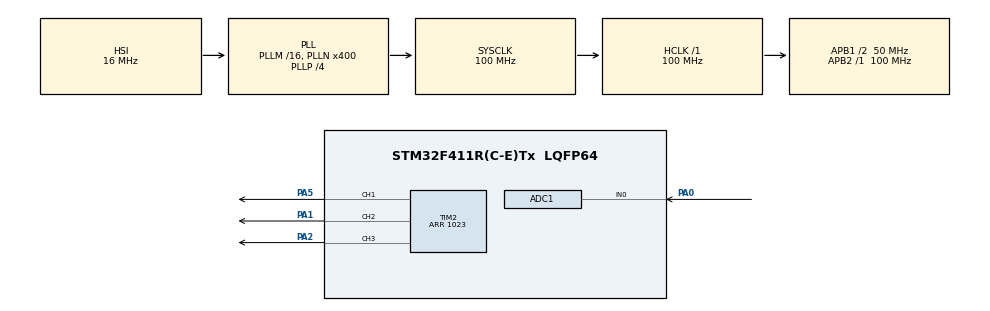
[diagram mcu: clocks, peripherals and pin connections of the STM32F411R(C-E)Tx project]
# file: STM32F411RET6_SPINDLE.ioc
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ADC1.Channel-0\#ChannelRegularConversion=ADC_CHANNEL_0
ADC1.ContinuousConvMode=ENABLE
ADC1.DMAContinuousRequests=ENABLE
ADC1.EOCSelection=ADC_EOC_SEQ_CONV
ADC1.NbrOfConversionFlag=1
ADC1.Rank-0\#ChannelRegularConversion=1
ADC1.SamplingTime-0\#ChannelRegularConversion=ADC_SAMPLETIME_84CYCLES
ADC1.ScanConvMode=ENABLE
ADC1.master=1
Dma.ADC1.0.Direction=DMA_PERIPH_TO_MEMORY
Dma.ADC1.0.FIFOMode=DMA_FIFOMODE_DISABLE
Dma.ADC1.0.Instance=DMA2_Stream0
Dma.ADC1.0.MemDataAlignment=DMA_MDATAALIGN_WORD
Dma.ADC1.0.MemInc=DMA_MINC_ENABLE
Dma.ADC1.0.Mode=DMA_CIRCULAR
Dma.ADC1.0.PeriphDataAlignment=DMA_PDATAALIGN_WORD
Dma.ADC1.0.PeriphInc=DMA_PINC_DISABLE
Dma.ADC1.0.Priority=DMA_PRIORITY_MEDIUM
Dma.Request0=ADC1
Mcu.Family=STM32F4
Mcu.Name=STM32F411R(C-E)Tx
Mcu.Package=LQFP64
NVIC.DMA2_Stream0_IRQn=true\:0\:0\:true\:false\:true\:false\:true\:true
NVIC.PriorityGroup=NVIC_PRIORITYGROUP_4
NVIC.TIM1_UP_TIM10_IRQn=true\:0\:0\:true\:false\:true\:true\:true\:true
NVIC.TIM3_IRQn=true\:0\:0\:false\:false\:true\:true\:true\:true
PA0-WKUP.Signal=ADCx_IN0
PA1.Signal=S_TIM2_CH2
PA13.Mode=Serial_Wire
PA13.Signal=SYS_JTMS-SWDIO
PA14.Mode=Serial_Wire
PA14.Signal=SYS_JTCK-SWCLK
PA2.Signal=S_TIM2_CH3
PA5.Signal=S_TIM2_CH1_ETR
ProjectManager.HeapSize=0x200
ProjectManager.StackSize=0x400
ProjectManager.TargetToolchain=STM32CubeIDE
RCC.48MHZClocksFreq_Value=100000000
RCC.AHBFreq_Value=100000000
RCC.APB1CLKDivider=RCC_HCLK_DIV2
RCC.APB1Freq_Value=50000000
RCC.APB1TimFreq_Value=100000000
RCC.APB2Freq_Value=100000000
RCC.APB2TimFreq_Value=100000000
RCC.CortexFreq_Value=100000000
RCC.HCLKFreq_Value=100000000
RCC.HSE_VALUE=8000000
RCC.HSI_VALUE=16000000
RCC.LSE_VALUE=32768
RCC.PLLN=400
RCC.PLLP=RCC_PLLP_DIV4
RCC.SYSCLKFreq_VALUE=100000000
RCC.SYSCLKSource=RCC_SYSCLKSOURCE_PLLCLK
RCC.VCOOutputFreq_Value=400000000
SH.ADCx_IN0.0=ADC1_IN0,IN0
SH.S_TIM2_CH1_ETR.0=TIM2_CH1,PWM Generation1 CH1
SH.S_TIM2_CH2.0=TIM2_CH2,PWM Generation2 CH2
SH.S_TIM2_CH3.0=TIM2_CH3,PWM Generation3 CH3
TIM1.AutoReloadPreload=TIM_AUTORELOAD_PRELOAD_DISABLE
TIM1.Period=2
TIM2.AutoReloadPreload=TIM_AUTORELOAD_PRELOAD_ENABLE
TIM2.Channel-PWM\ Generation1\ CH1=TIM_CHANNEL_1
TIM2.Channel-PWM\ Generation2\ CH2=TIM_CHANNEL_2
TIM2.Channel-PWM\ Generation3\ CH3=TIM_CHANNEL_3
TIM2.Period=1023
TIM3.Period=60000
TIM3.Prescaler=1000
VP_TIM1_VS_ClockSourceINT.Mode=Internal
VP_TIM2_VS_ClockSourceINT.Mode=Internal
VP_TIM3_VS_ClockSourceINT.Mode=Internal
board=custom

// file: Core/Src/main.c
/* USER CODE BEGIN Header */
/**
  ******************************************************************************
  * @file           : main.c
  * @brief          : Main program body
  ******************************************************************************
  * @attention
  *
  * Copyright (c) 2022 STMicroelectronics.
  * All rights reserved.
  *
  * This software is licensed under terms that can be found in the LICENSE file
  * in the root directory of this software component.
  * If no LICENSE file comes with this software, it is provided AS-IS.
  *
  ******************************************************************************
  */
/* USER CODE END Header */
#include "main.h"

/* USER CODE BEGIN PD */
#define NS			512
#define	TIMER1_CLk	100000000

uint16_t Sine_LUT_P1[NS] = {
		512, 518, 524, 530, 537, 543, 549, 555, 562, 568, 574, 580, 587, 593, 599, 605, 611, 618, 624, 630, 636, 642, 648, 654, 660, 666, 672, 678, 684, 690,
		696, 702, 708, 713, 719, 725, 731, 736, 742, 747, 753, 759, 764, 770, 775, 780, 786, 791, 796, 801, 807, 812, 817, 822, 827, 832, 837, 841, 846, 851,
		856, 860, 865, 869, 874, 878, 883, 887, 891, 895, 899, 903, 907, 911, 915, 919, 923, 927, 930, 934, 937, 941, 944, 948, 951, 954, 957, 960, 963, 966,
		969, 972, 974, 977, 980, 982, 985, 987, 989, 991, 994, 996, 998, 999, 1001, 1003, 1005, 1006, 1008, 1009, 1011, 1012, 1013, 1015, 1016, 1017, 1018,
		1019, 1019, 1020, 1021, 1021, 1022, 1022, 1022, 1023, 1023, 1023, 1023, 1023, 1023, 1023, 1022, 1022, 1021, 1021, 1020, 1020, 1019, 1018, 1017, 1016,
		1015, 1014, 1013, 1012, 1010, 1009, 1007, 1006, 1004, 1002, 1000, 999, 997, 995, 992, 990, 988, 986, 983, 981, 978, 976, 973, 970, 967, 965, 962, 959,
		956, 952, 949, 946, 942, 939, 936, 932, 928, 925, 921, 917, 913, 909, 905, 901, 897, 893, 889, 885, 880, 876, 872, 867, 862, 858, 853, 849, 844, 839,
		834, 829, 824, 819, 814, 809, 804, 799, 794, 788, 783, 778, 772, 767, 761, 756, 750, 745, 739, 733, 728, 722, 716, 711, 705, 699, 693, 687, 681, 675,
		669, 663, 657, 651, 645, 639, 633, 627, 621, 615, 608, 602, 596, 590, 584, 577, 571, 565, 559, 552, 546, 540, 534, 527, 521, 515, 508, 502, 496, 489,
		483, 477, 471, 464, 458, 452, 446, 439, 433, 427, 421, 415, 408, 402, 396, 390, 384, 378, 372, 366, 360, 354, 348, 342, 336, 330, 324, 318, 312, 307,
		301, 295, 290, 284, 278, 273, 267, 262, 256, 251, 245, 240, 235, 229, 224, 219, 214, 209, 204, 199, 194, 189, 184, 179, 174, 170, 165, 161, 156, 151,
		147, 143, 138, 134, 130, 126, 122, 118, 114, 110, 106, 102, 98, 95, 91, 87, 84, 81, 77, 74, 71, 67, 64, 61, 58, 56, 53, 50, 47, 45, 42, 40, 37, 35,
		33, 31, 28, 26, 24, 23, 21, 19, 17, 16, 14, 13, 11, 10, 9, 8, 7, 6, 5, 4, 3, 3, 2, 2, 1, 1, 0, 0, 0, 0, 0, 0, 0, 1, 1, 1, 2, 2, 3, 4, 4, 5, 6, 7, 8,
		10, 11, 12, 14, 15, 17, 18, 20, 22, 24, 25, 27, 29, 32, 34, 36, 38, 41, 43, 46, 49, 51, 54, 57, 60, 63, 66, 69, 72, 75, 79, 82, 86, 89, 93, 96, 100,
		104, 108, 112, 116, 120, 124, 128, 132, 136, 140, 145, 149, 154, 158, 163, 167, 172, 177, 182, 186, 191, 196, 201, 206, 211, 216, 222, 227, 232,237,
		243, 248, 253, 259, 264, 270, 276, 281, 287, 292, 298, 304, 310, 315, 321, 327, 333, 339, 345, 351, 357, 363, 369, 375, 381, 387, 393, 399, 405, 412,
		418, 424, 430, 436, 443, 449, 455, 461, 468, 474, 480, 486, 493, 499, 505, 511
};

uint16_t Sine_LUT_P2[NS] = {
		69, 65, 62, 59, 56, 54, 51, 48, 46, 43, 41, 38, 36, 33, 31, 29, 27, 25, 23, 21, 20, 18, 16, 15, 13, 12, 11, 9, 8, 7, 6, 5, 4, 4, 3, 2, 2, 1, 1, 0, 0, 0, 0, 0, 0,
		0, 0, 1, 1, 2, 2, 3, 3, 4, 5, 6, 7, 8, 9, 10, 12, 13, 15, 16, 18, 19, 21, 23, 25, 27, 29, 31, 33, 35, 38, 40, 43, 45, 48, 50, 53, 56, 59, 62, 65, 68, 71, 74, 78,
		81, 85, 88, 92, 95, 99, 103, 106, 110, 114, 118, 122, 126, 131, 135, 139, 143, 148, 152, 157, 161, 166, 171, 175, 180, 185, 190, 195, 200, 205, 210, 215, 220, 225,
		230, 236, 241, 246, 252, 257, 263, 268, 274, 279, 285, 291, 296, 302, 308, 313, 319, 325, 331, 337, 343, 349, 355, 361, 367, 373, 379, 385, 391, 397, 403, 409, 416,
		422, 428, 434, 440, 447, 453, 459, 465, 472, 478, 484, 491, 497, 503, 509, 516, 522, 528, 535, 541, 547, 553, 560, 566, 572, 578, 585, 591, 597, 603, 609, 616, 622,
		628, 634, 640, 646, 652, 658, 664, 670, 676, 682, 688, 694, 700, 706, 711, 717, 723, 729, 734, 740, 746, 751, 757, 762, 768, 773, 779, 784, 789, 794, 800, 805, 810,
		815, 820, 825, 830, 835, 840, 845, 849, 854, 859, 863, 868, 872, 877, 881, 885, 890, 894, 898, 902, 906, 910, 914, 918, 922, 925, 929, 933, 936, 940, 943, 946, 950,
		953, 956, 959, 962, 965, 968, 971, 973, 976, 979, 981, 984, 986, 988, 991, 993, 995, 997, 999, 1001, 1003, 1004, 1006, 1007, 1009, 1010, 1012, 1013, 1014, 1015,
		1016, 1017, 1018, 1019, 1020, 1020, 1021, 1022, 1022, 1022, 1023, 1023, 1023, 1023, 1023, 1023, 1023, 1022, 1022, 1022, 1021, 1021, 1020, 1019, 1018, 1018, 1017,
		1016, 1014, 1013, 1012, 1011, 1009, 1008, 1006, 1005, 1003, 1001, 999, 997, 995, 993, 991, 989, 986, 984, 982, 979, 977, 974, 971, 968, 966, 963, 960, 957, 953, 950,
		947, 944, 940, 937, 933, 930, 926, 922, 918, 915, 911, 907, 903, 899, 895, 890, 886, 882, 877, 873, 869, 864, 859, 855, 850, 845, 841, 836, 831, 826, 821, 816, 811,
		806, 801, 795, 790, 785, 779, 774, 769, 763, 758, 752, 747, 741, 735, 730, 724, 718, 712, 707, 701, 695, 689, 683, 677, 671, 665, 659, 653, 647, 641, 635, 629, 623,
		617, 610, 604, 598, 592, 586, 579, 573, 567, 561, 554, 548, 542, 536, 529, 523, 517, 510, 504, 498, 492, 485, 479, 473, 466, 460, 454, 448, 441, 435, 429, 423, 417,
		410, 404, 398, 392, 386, 380, 374, 368, 362, 356, 350, 344, 338, 332, 326, 320, 314, 309, 303, 297, 291, 286, 280, 275, 269, 264, 258, 253, 247, 242, 236, 231, 226,
		221, 216, 211, 205, 200, 195, 191, 186, 181, 176, 171, 167, 162, 157, 153, 149, 144, 140, 135, 131, 127, 123, 119, 115, 111, 107, 103, 99, 96, 92, 89, 85, 82, 78, 75, 72, 69
};

uint16_t Sine_LUT_P3[NS] = {
		954, 951, 948, 945, 941, 938, 934, 931, 927, 924, 920, 916, 912, 908, 904, 900, 896, 892, 888, 883, 879, 874, 870, 866, 861, 856, 852, 847, 842, 837,
		832, 828, 823, 818, 812, 807, 802, 797, 792, 787, 781, 776, 770, 765, 759, 754, 748, 743, 737, 732, 726, 720, 714, 709, 703, 697, 691, 685, 679, 673,
		667, 661, 655, 649, 643, 637, 631, 625, 619, 613, 606, 600, 594, 588, 582, 575, 569, 563, 557, 550, 544, 538, 531, 525, 519, 513, 506, 500, 494, 487,
		481, 475, 469, 462, 456, 450, 444, 437, 431, 425, 419, 413, 406, 400, 394, 388, 382, 376, 370, 364, 358, 352, 346, 340, 334, 328, 322, 316, 311, 305,
		299, 293, 288, 282, 276, 271, 265, 260, 254, 249, 244, 238, 233, 228, 222, 217, 212, 207, 202, 197, 192, 187, 182, 178, 173, 168, 164, 159, 154, 150,
		146, 141, 137, 133, 128, 124, 120, 116, 112, 108, 105, 101, 97, 93, 90, 86, 83, 79, 76, 73, 70, 66, 63, 60, 57, 55, 52, 49, 46, 44, 41, 39, 37, 34, 32,
		30, 28, 26, 24, 22, 20, 18, 17, 15, 14, 12, 11, 10, 9, 7, 6, 5, 5, 4, 3, 2, 2, 1, 1, 1, 0, 0, 0, 0, 0, 0, 0, 1, 1, 1, 2, 3, 3, 4, 5, 6, 7, 8, 9, 10,
		11, 13, 14, 16, 17, 19, 20, 22, 24, 26, 28, 30, 32, 35, 37, 39, 42, 44, 47, 50, 52, 55, 58, 61, 64, 67, 70, 73, 77, 80, 83, 87, 90, 94, 98, 101, 105,
		109, 113, 117, 121, 125, 129, 133, 138, 142, 146, 151, 155, 160, 164, 169, 174, 178, 183, 188, 193, 198, 203, 208, 213, 218, 223, 229, 234, 239, 244,
		250, 255, 261, 266, 272, 277, 283, 289, 294, 300, 306, 312, 317, 323, 329, 335, 341, 347, 353, 359, 365, 371, 377, 383, 389, 395, 401, 407, 414, 420,
		426, 432, 438, 445, 451, 457, 463, 470, 476, 482, 488, 495, 501, 507, 514, 520, 526, 532, 539, 545, 551, 558, 564, 570, 576, 583, 589, 595, 601, 607,
		614, 620, 626, 632, 638, 644, 650, 656, 662, 668, 674, 680, 686, 692, 698, 704, 710, 715, 721, 727, 732, 738, 744, 749, 755, 760, 766, 771, 777, 782,
		787, 793, 798, 803, 808, 813, 818, 823, 828, 833, 838, 843, 848, 852, 857, 862, 866, 871, 875, 880, 884, 888, 892, 897, 901, 905, 909, 913, 917, 920,
		924, 928, 931, 935, 938, 942, 945, 949, 952, 955, 958, 961, 964, 967, 970, 973, 975, 978, 980, 983, 985, 988, 990, 992, 994, 996, 998, 1000, 1002, 1004,
		1005, 1007, 1008, 1010, 1011, 1013, 1014, 1015, 1016, 1017, 1018, 1019, 1020, 1020, 1021, 1021, 1022, 1022, 1023, 1023, 1023, 1023, 1023, 1023, 1023,
		1023, 1022, 1022, 1021, 1021, 1020, 1019, 1019, 1018, 1017, 1016, 1015, 1014, 1012, 1011, 1010, 1008, 1007, 1005, 1003, 1002, 1000, 998, 996, 994, 992,
		990, 987, 985, 982, 980, 977, 975, 972, 969, 967, 964, 961, 958, 954
};
/* USER CODE END PD */

 ADC_HandleTypeDef hadc1;
DMA_HandleTypeDef hdma_adc1;

TIM_HandleTypeDef htim1;
TIM_HandleTypeDef htim2;
TIM_HandleTypeDef htim3;

/* USER CODE BEGIN PV */
uint32_t F_SINE = 500;
uint32_t ADC_Value = 0;
uint32_t new_freq = 0;
uint32_t TIM1_Tick = 0;

uint16_t index_LUT = 0;

float Soft_Start = 0;

/* USER CODE END PV */

void SystemClock_Config(void);
static void MX_GPIO_Init(void);
static void MX_TIM1_Init(void);
static void MX_DMA_Init(void);
static void MX_ADC1_Init(void);
static void MX_TIM2_Init(void);
static void MX_TIM3_Init(void);
/* USER CODE BEGIN PFP */
void Update_TIM1_ARR(TIM_HandleTypeDef* htim, uint16_t new_arr) {
	__HAL_TIM_SET_AUTORELOAD(htim, new_arr);

	if (__HAL_TIM_GET_COUNTER(htim) >= __HAL_TIM_GET_AUTORELOAD(htim))
		htim->Instance->EGR |= TIM_EGR_UG;
}
/* USER CODE END PFP */

/* USER CODE BEGIN 0 */
void HAL_TIM_PeriodElapsedCallback(TIM_HandleTypeDef *htim)
{
	if(htim->Instance == TIM1)
	{
		TIM2->CCR1 = Sine_LUT_P1[index_LUT]*Soft_Start;
		TIM2->CCR2 = Sine_LUT_P2[index_LUT]*Soft_Start;
		TIM2->CCR3 = Sine_LUT_P3[index_LUT]*Soft_Start;
		//__HAL_TIM_SetCompare();
		if (index_LUT < 512) index_LUT++;
		else index_LUT = 0;
	}
	if (htim->Instance == TIM3)
	{
		HAL_TIM_Base_Stop_IT(&htim1);
		F_SINE = (uint32_t) 100 + ADC_Value*400/4095;
		TIM1_Tick  = TIMER1_CLk / (NS*F_SINE);
		Update_TIM1_ARR(&htim1, (uint16_t) TIM1_Tick - 1);
		HAL_TIM_Base_Start_IT(&htim1);
	}
}

void Soft_Start_Function()
{
	while (Soft_Start <= 1.0)
		Soft_Start = Soft_Start+ 0.01;
	HAL_Delay(400);

}
/* USER CODE END 0 */

int main(void)
{

  /* MCU Configuration--------------------------------------------------------*/

  /* Reset of all peripherals, Initializes the Flash interface and the Systick. */
  HAL_Init();

  /* Configure the system clock */
  SystemClock_Config();

  /* Initialize all configured peripherals */
  MX_GPIO_Init();
  MX_TIM1_Init();
  MX_DMA_Init();
  MX_ADC1_Init();
  MX_TIM2_Init();
  MX_TIM3_Init();
  /* USER CODE BEGIN 2 */
  TIM1_Tick  = TIMER1_CLk / (NS*F_SINE);
  Soft_Start = 1.0;
  Update_TIM1_ARR(&htim1, (uint16_t) TIM1_Tick - 1);
  HAL_TIM_Base_Start_IT(&htim1);
  HAL_TIM_Base_Start_IT(&htim3);
  HAL_TIM_PWM_Start(&htim2, TIM_CHANNEL_1);
  HAL_TIM_PWM_Start(&htim2, TIM_CHANNEL_2);
  HAL_TIM_PWM_Start(&htim2, TIM_CHANNEL_3);
  HAL_ADC_Start_DMA(&hadc1, &ADC_Value, 1);
//  Soft_Start_Function();

  /* USER CODE END 2 */

  /* Infinite loop */
  /* USER CODE BEGIN WHILE */
  while (1)
  {
//	  F_SINE = (uint32_t) 100 + ADC_Value*900/4095;
//	  TIM1_Tick  = TIMER1_CLk / (NS*F_SINE);
//	  Update_TIM1_ARR(&htim1, (uint16_t) TIM1_Tick - 1);
    /* USER CODE END WHILE */

  }
}

void SystemClock_Config(void)
{
  RCC_OscInitTypeDef RCC_OscInitStruct = {0};
  RCC_ClkInitTypeDef RCC_ClkInitStruct = {0};

  /** Configure the main internal regulator output voltage
  */
  __HAL_RCC_PWR_CLK_ENABLE();
  __HAL_PWR_VOLTAGESCALING_CONFIG(PWR_REGULATOR_VOLTAGE_SCALE1);

  /** Initializes the RCC Oscillators according to the specified parameters
  * in the RCC_OscInitTypeDef structure.
  */
  RCC_OscInitStruct.OscillatorType = RCC_OSCILLATORTYPE_HSI;
  RCC_OscInitStruct.HSIState = RCC_HSI_ON;
  RCC_OscInitStruct.HSICalibrationValue = RCC_HSICALIBRATION_DEFAULT;
  RCC_OscInitStruct.PLL.PLLState = RCC_PLL_ON;
  RCC_OscInitStruct.PLL.PLLSource = RCC_PLLSOURCE_HSI;
  RCC_OscInitStruct.PLL.PLLM = 16;
  RCC_OscInitStruct.PLL.PLLN = 400;
  RCC_OscInitStruct.PLL.PLLP = RCC_PLLP_DIV4;
  RCC_OscInitStruct.PLL.PLLQ = 4;
  if (HAL_RCC_OscConfig(&RCC_OscInitStruct) != HAL_OK)
  {
    Error_Handler();
  }

  /** Initializes the CPU, AHB and APB buses clocks
  */
  RCC_ClkInitStruct.ClockType = RCC_CLOCKTYPE_HCLK|RCC_CLOCKTYPE_SYSCLK
                              |RCC_CLOCKTYPE_PCLK1|RCC_CLOCKTYPE_PCLK2;
  RCC_ClkInitStruct.SYSCLKSource = RCC_SYSCLKSOURCE_PLLCLK;
  RCC_ClkInitStruct.AHBCLKDivider = RCC_SYSCLK_DIV1;
  RCC_ClkInitStruct.APB1CLKDivider = RCC_HCLK_DIV2;
  RCC_ClkInitStruct.APB2CLKDivider = RCC_HCLK_DIV1;

  if (HAL_RCC_ClockConfig(&RCC_ClkInitStruct, FLASH_LATENCY_3) != HAL_OK)
  {
    Error_Handler();
  }
}

static void MX_ADC1_Init(void)
{

  ADC_ChannelConfTypeDef sConfig = {0};

  /** Configure the global features of the ADC (Clock, Resolution, Data Alignment and number of conversion)
  */
  hadc1.Instance = ADC1;
  hadc1.Init.ClockPrescaler = ADC_CLOCK_SYNC_PCLK_DIV4;
  hadc1.Init.Resolution = ADC_RESOLUTION_12B;
  hadc1.Init.ScanConvMode = ENABLE;
  hadc1.Init.ContinuousConvMode = ENABLE;
  hadc1.Init.DiscontinuousConvMode = DISABLE;
  hadc1.Init.ExternalTrigConvEdge = ADC_EXTERNALTRIGCONVEDGE_NONE;
  hadc1.Init.ExternalTrigConv = ADC_SOFTWARE_START;
  hadc1.Init.DataAlign = ADC_DATAALIGN_RIGHT;
  hadc1.Init.NbrOfConversion = 1;
  hadc1.Init.DMAContinuousRequests = ENABLE;
  hadc1.Init.EOCSelection = ADC_EOC_SEQ_CONV;
  if (HAL_ADC_Init(&hadc1) != HAL_OK)
  {
    Error_Handler();
  }

  /** Configure for the selected ADC regular channel its corresponding rank in the sequencer and its sample time.
  */
  sConfig.Channel = ADC_CHANNEL_0;
  sConfig.Rank = 1;
  sConfig.SamplingTime = ADC_SAMPLETIME_84CYCLES;
  if (HAL_ADC_ConfigChannel(&hadc1, &sConfig) != HAL_OK)
  {
    Error_Handler();
  }

}

static void MX_TIM1_Init(void)
{

  TIM_ClockConfigTypeDef sClockSourceConfig = {0};
  TIM_MasterConfigTypeDef sMasterConfig = {0};

  htim1.Instance = TIM1;
  htim1.Init.Prescaler = 0;
  htim1.Init.CounterMode = TIM_COUNTERMODE_UP;
  htim1.Init.Period = 2;
  htim1.Init.ClockDivision = TIM_CLOCKDIVISION_DIV1;
  htim1.Init.RepetitionCounter = 0;
  htim1.Init.AutoReloadPreload = TIM_AUTORELOAD_PRELOAD_DISABLE;
  if (HAL_TIM_Base_Init(&htim1) != HAL_OK)
  {
    Error_Handler();
  }
  sClockSourceConfig.ClockSource = TIM_CLOCKSOURCE_INTERNAL;
  if (HAL_TIM_ConfigClockSource(&htim1, &sClockSourceConfig) != HAL_OK)
  {
    Error_Handler();
  }
  sMasterConfig.MasterOutputTrigger = TIM_TRGO_RESET;
  sMasterConfig.MasterSlaveMode = TIM_MASTERSLAVEMODE_DISABLE;
  if (HAL_TIMEx_MasterConfigSynchronization(&htim1, &sMasterConfig) != HAL_OK)
  {
    Error_Handler();
  }

}

static void MX_TIM2_Init(void)
{

  TIM_ClockConfigTypeDef sClockSourceConfig = {0};
  TIM_MasterConfigTypeDef sMasterConfig = {0};
  TIM_OC_InitTypeDef sConfigOC = {0};

  htim2.Instance = TIM2;
  htim2.Init.Prescaler = 0;
  htim2.Init.CounterMode = TIM_COUNTERMODE_UP;
  htim2.Init.Period = 1023;
  htim2.Init.ClockDivision = TIM_CLOCKDIVISION_DIV1;
  htim2.Init.AutoReloadPreload = TIM_AUTORELOAD_PRELOAD_ENABLE;
  if (HAL_TIM_Base_Init(&htim2) != HAL_OK)
  {
    Error_Handler();
  }
  sClockSourceConfig.ClockSource = TIM_CLOCKSOURCE_INTERNAL;
  if (HAL_TIM_ConfigClockSource(&htim2, &sClockSourceConfig) != HAL_OK)
  {
    Error_Handler();
  }
  if (HAL_TIM_PWM_Init(&htim2) != HAL_OK)
  {
    Error_Handler();
  }
  sMasterConfig.MasterOutputTrigger = TIM_TRGO_RESET;
  sMasterConfig.MasterSlaveMode = TIM_MASTERSLAVEMODE_DISABLE;
  if (HAL_TIMEx_MasterConfigSynchronization(&htim2, &sMasterConfig) != HAL_OK)
  {
    Error_Handler();
  }
  sConfigOC.OCMode = TIM_OCMODE_PWM1;
  sConfigOC.Pulse = 0;
  sConfigOC.OCPolarity = TIM_OCPOLARITY_HIGH;
  sConfigOC.OCFastMode = TIM_OCFAST_DISABLE;
  if (HAL_TIM_PWM_ConfigChannel(&htim2, &sConfigOC, TIM_CHANNEL_1) != HAL_OK)
  {
    Error_Handler();
  }
  if (HAL_TIM_PWM_ConfigChannel(&htim2, &sConfigOC, TIM_CHANNEL_2) != HAL_OK)
  {
    Error_Handler();
  }
  if (HAL_TIM_PWM_ConfigChannel(&htim2, &sConfigOC, TIM_CHANNEL_3) != HAL_OK)
  {
    Error_Handler();
  }
  HAL_TIM_MspPostInit(&htim2);

}

static void MX_TIM3_Init(void)
{

  TIM_ClockConfigTypeDef sClockSourceConfig = {0};
  TIM_MasterConfigTypeDef sMasterConfig = {0};

  htim3.Instance = TIM3;
  htim3.Init.Prescaler = 1000;
  htim3.Init.CounterMode = TIM_COUNTERMODE_UP;
  htim3.Init.Period = 60000;
  htim3.Init.ClockDivision = TIM_CLOCKDIVISION_DIV1;
  htim3.Init.AutoReloadPreload = TIM_AUTORELOAD_PRELOAD_DISABLE;
  if (HAL_TIM_Base_Init(&htim3) != HAL_OK)
  {
    Error_Handler();
  }
  sClockSourceConfig.ClockSource = TIM_CLOCKSOURCE_INTERNAL;
  if (HAL_TIM_ConfigClockSource(&htim3, &sClockSourceConfig) != HAL_OK)
  {
    Error_Handler();
  }
  sMasterConfig.MasterOutputTrigger = TIM_TRGO_RESET;
  sMasterConfig.MasterSlaveMode = TIM_MASTERSLAVEMODE_DISABLE;
  if (HAL_TIMEx_MasterConfigSynchronization(&htim3, &sMasterConfig) != HAL_OK)
  {
    Error_Handler();
  }

}

static void MX_DMA_Init(void)
{

  /* DMA controller clock enable */
  __HAL_RCC_DMA2_CLK_ENABLE();

  /* DMA interrupt init */
  /* DMA2_Stream0_IRQn interrupt configuration */
  HAL_NVIC_SetPriority(DMA2_Stream0_IRQn, 0, 0);
  HAL_NVIC_EnableIRQ(DMA2_Stream0_IRQn);

}

static void MX_GPIO_Init(void)
{

  /* GPIO Ports Clock Enable */
  __HAL_RCC_GPIOA_CLK_ENABLE();

}

void Error_Handler(void)
{
  __disable_irq();
  while (1)
  {
  }
}
